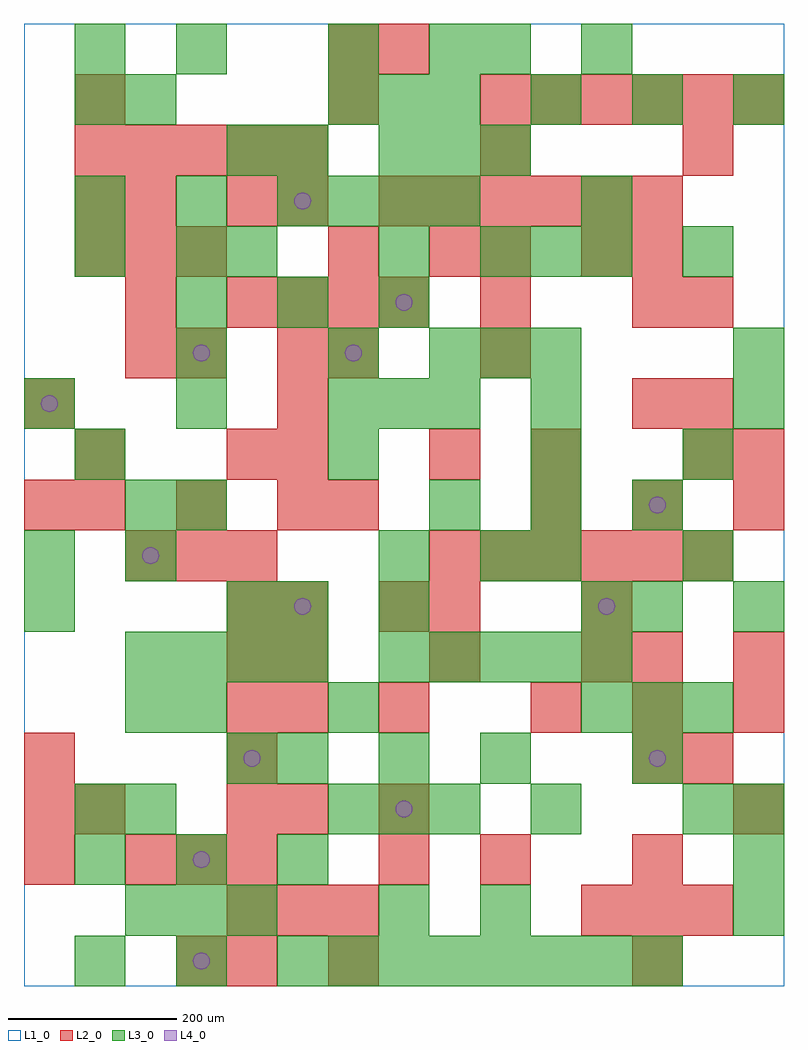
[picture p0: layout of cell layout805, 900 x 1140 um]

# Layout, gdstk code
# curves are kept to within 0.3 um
import gdstk
lib = gdstk.Library(unit=1e-6, precision=1e-09)
def R(c, l, rs):  # rectangles x0, y0, x1, y1
    for r in rs: c.add(gdstk.rectangle(r[:2], r[2:], *l))
def A(c, l, x, y, w, h, nx, ny, dx, dy):  # array of equal rectangles
    R(c, l, [(x+i*dx, y+j*dy, x+i*dx+w, y+j*dy+h) for i in range(nx) for j in range(ny)])
def P(c, l, *ps):  # polygons
    for p in ps: c.add(gdstk.Polygon(p, *l))
L1_0 = (1, 0)
L2_0 = (2, 0)
L3_0 = (3, 0)
L4_0 = (4, 0)

layout805 = lib.new_cell('layout805')
R(layout805, L1_0, [(0,0,900,1140)])
A(layout805, L2_0, 720, 0, 60, 60, 1, 4, 0, 120)
A(layout805, L2_0, 240, 60, 60, 60, 3, 1, 60, 0)
A(layout805, L2_0, 660, 60, 60, 60, 3, 1, 60, 0)
A(layout805, L2_0, 0, 120, 60, 60, 1, 3, 0, 60)
A(layout805, L2_0, 120, 120, 60, 60, 3, 2, 60, 360)
A(layout805, L2_0, 240, 180, 60, 60, 1, 5, 0, 60)
A(layout805, L2_0, 300, 180, 60, 60, 1, 3, 0, 120)
A(layout805, L2_0, 420, 180, 60, 60, 1, 3, 0, 120)
A(layout805, L2_0, 600, 300, 60, 60, 3, 2, 120, 240)
A(layout805, L2_0, 300, 360, 60, 60, 3, 1, 180, 0)
A(layout805, L2_0, 480, 480, 60, 60, 6, 1, 60, 0)
A(layout805, L2_0, 60, 540, 60, 60, 3, 1, 120, 0)
A(layout805, L2_0, 300, 600, 60, 60, 1, 3, 0, 60)
A(layout805, L2_0, 540, 720, 60, 60, 1, 3, 0, 60)
A(layout805, L2_0, 240, 780, 60, 60, 4, 1, 60, 0)
A(layout805, L2_0, 60, 840, 60, 60, 3, 1, 60, 0)
A(layout805, L2_0, 420, 900, 60, 60, 6, 1, 60, 0)
A(layout805, L2_0, 60, 960, 60, 60, 5, 1, 60, 0)
A(layout805, L2_0, 540, 1020, 60, 60, 6, 1, 60, 0)
R(layout805, L2_0, [(180,0,240,60), (240,0,300,60), (360,0,420,60), (420,120,480,180), (540,120,600,180), (60,180,120,240), (840,180,900,240), (780,240,840,300), (840,360,900,420), (480,420,540,480), (660,420,720,480), (0,540,60,600), (360,540,420,600), (60,600,120,660), (240,600,300,660), (480,600,540,660), (600,600,660,660), (780,600,840,660), (840,600,900,660), (0,660,60,720), (720,660,780,720), (780,660,840,720), (120,720,180,780), (180,720,240,780), (360,720,420,780), (120,780,180,840), (720,780,780,840), (780,780,840,840), (360,840,420,900), (480,840,540,900), (660,840,720,900), (720,840,780,900), (60,900,120,960), (120,900,180,960), (240,900,300,960), (300,900,360,960), (540,960,600,1020), (780,960,840,1020), (60,1020,120,1080), (360,1020,420,1080), (360,1080,420,1140), (420,1080,480,1140)])
A(layout805, L3_0, 60, 0, 60, 60, 3, 2, 120, 120)
A(layout805, L3_0, 360, 0, 60, 60, 7, 1, 60, 0)
A(layout805, L3_0, 120, 60, 60, 60, 3, 1, 60, 0)
A(layout805, L3_0, 840, 60, 60, 60, 1, 3, 0, 60)
A(layout805, L3_0, 360, 180, 60, 60, 3, 2, 60, 720)
A(layout805, L3_0, 300, 240, 60, 60, 3, 1, 120, 0)
A(layout805, L3_0, 660, 300, 60, 60, 3, 1, 60, 0)
A(layout805, L3_0, 120, 360, 60, 60, 4, 1, 60, 0)
A(layout805, L3_0, 420, 360, 60, 60, 5, 1, 60, 0)
A(layout805, L3_0, 420, 480, 60, 60, 1, 3, 0, 180)
A(layout805, L3_0, 480, 540, 60, 60, 3, 1, 120, 0)
A(layout805, L3_0, 0, 660, 60, 60, 3, 1, 180, 0)
A(layout805, L3_0, 480, 720, 60, 60, 3, 1, 60, 0)
A(layout805, L3_0, 180, 780, 60, 60, 3, 1, 120, 0)
A(layout805, L3_0, 540, 840, 60, 60, 3, 1, 60, 0)
A(layout805, L3_0, 60, 900, 60, 60, 3, 1, 120, 0)
A(layout805, L3_0, 420, 960, 60, 60, 3, 1, 60, 0)
A(layout805, L3_0, 360, 1020, 60, 60, 3, 1, 60, 0)
A(layout805, L3_0, 600, 1020, 60, 60, 3, 1, 120, 0)
R(layout805, L3_0, [(420,60,480,120), (540,60,600,120), (60,180,120,240), (120,180,180,240), (600,180,660,240), (780,180,840,240), (240,240,300,300), (720,240,780,300), (120,300,180,360), (180,300,240,360), (360,300,420,360), (0,420,60,480), (240,420,300,480), (300,420,360,480), (420,420,480,480), (660,420,720,480), (720,420,780,480), (840,420,900,480), (0,480,60,540), (120,480,180,540), (540,480,600,540), (600,480,660,540), (780,480,840,540), (120,540,180,600), (180,540,240,600), (60,600,120,660), (360,600,420,660), (600,600,660,660), (780,600,840,660), (480,660,540,720), (600,660,660,720), (840,660,900,720), (180,720,240,780), (360,720,420,780), (840,720,900,780), (60,840,120,900), (180,840,240,900), (240,840,300,900), (780,840,840,900), (660,900,720,960), (240,960,300,1020), (300,960,360,1020), (60,1020,120,1080), (120,1020,180,1080), (60,1080,120,1140), (180,1080,240,1140), (360,1080,420,1140), (480,1080,540,1140), (540,1080,600,1140), (660,1080,720,1140)])
P(layout805, L4_0, [(40,690),(39.239,693.827),(37.071,697.071),(33.827,699.239),(30,700),(26.173,699.239),(22.929,697.071),(20.761,693.827),(20,690),(20.761,686.173),(22.929,682.929),(26.173,680.761),(30,680),(33.827,680.761),(37.071,682.929),(39.239,686.173)],
  [(160,510),(159.239,513.827),(157.071,517.071),(153.827,519.239),(150,520),(146.173,519.239),(142.929,517.071),(140.761,513.827),(140,510),(140.761,506.173),(142.929,502.929),(146.173,500.761),(150,500),(153.827,500.761),(157.071,502.929),(159.239,506.173)],
  [(220,30),(219.239,33.827),(217.071,37.071),(213.827,39.239),(210,40),(206.173,39.239),(202.929,37.071),(200.761,33.827),(200,30),(200.761,26.173),(202.929,22.929),(206.173,20.761),(210,20),(213.827,20.761),(217.071,22.929),(219.239,26.173)],
  [(220,150),(219.239,153.827),(217.071,157.071),(213.827,159.239),(210,160),(206.173,159.239),(202.929,157.071),(200.761,153.827),(200,150),(200.761,146.173),(202.929,142.929),(206.173,140.761),(210,140),(213.827,140.761),(217.071,142.929),(219.239,146.173)],
  [(220,750),(219.239,753.827),(217.071,757.071),(213.827,759.239),(210,760),(206.173,759.239),(202.929,757.071),(200.761,753.827),(200,750),(200.761,746.173),(202.929,742.929),(206.173,740.761),(210,740),(213.827,740.761),(217.071,742.929),(219.239,746.173)],
  [(280,270),(279.239,273.827),(277.071,277.071),(273.827,279.239),(270,280),(266.173,279.239),(262.929,277.071),(260.761,273.827),(260,270),(260.761,266.173),(262.929,262.929),(266.173,260.761),(270,260),(273.827,260.761),(277.071,262.929),(279.239,266.173)],
  [(340,450),(339.239,453.827),(337.071,457.071),(333.827,459.239),(330,460),(326.173,459.239),(322.929,457.071),(320.761,453.827),(320,450),(320.761,446.173),(322.929,442.929),(326.173,440.761),(330,440),(333.827,440.761),(337.071,442.929),(339.239,446.173)],
  [(340,930),(339.239,933.827),(337.071,937.071),(333.827,939.239),(330,940),(326.173,939.239),(322.929,937.071),(320.761,933.827),(320,930),(320.761,926.173),(322.929,922.929),(326.173,920.761),(330,920),(333.827,920.761),(337.071,922.929),(339.239,926.173)],
  [(400,750),(399.239,753.827),(397.071,757.071),(393.827,759.239),(390,760),(386.173,759.239),(382.929,757.071),(380.761,753.827),(380,750),(380.761,746.173),(382.929,742.929),(386.173,740.761),(390,740),(393.827,740.761),(397.071,742.929),(399.239,746.173)],
  [(460,210),(459.239,213.827),(457.071,217.071),(453.827,219.239),(450,220),(446.173,219.239),(442.929,217.071),(440.761,213.827),(440,210),(440.761,206.173),(442.929,202.929),(446.173,200.761),(450,200),(453.827,200.761),(457.071,202.929),(459.239,206.173)],
  [(460,810),(459.239,813.827),(457.071,817.071),(453.827,819.239),(450,820),(446.173,819.239),(442.929,817.071),(440.761,813.827),(440,810),(440.761,806.173),(442.929,802.929),(446.173,800.761),(450,800),(453.827,800.761),(457.071,802.929),(459.239,806.173)],
  [(700,450),(699.239,453.827),(697.071,457.071),(693.827,459.239),(690,460),(686.173,459.239),(682.929,457.071),(680.761,453.827),(680,450),(680.761,446.173),(682.929,442.929),(686.173,440.761),(690,440),(693.827,440.761),(697.071,442.929),(699.239,446.173)],
  [(760,270),(759.239,273.827),(757.071,277.071),(753.827,279.239),(750,280),(746.173,279.239),(742.929,277.071),(740.761,273.827),(740,270),(740.761,266.173),(742.929,262.929),(746.173,260.761),(750,260),(753.827,260.761),(757.071,262.929),(759.239,266.173)],
  [(760,570),(759.239,573.827),(757.071,577.071),(753.827,579.239),(750,580),(746.173,579.239),(742.929,577.071),(740.761,573.827),(740,570),(740.761,566.173),(742.929,562.929),(746.173,560.761),(750,560),(753.827,560.761),(757.071,562.929),(759.239,566.173)])

lib.write_gds('layout805.gds')
